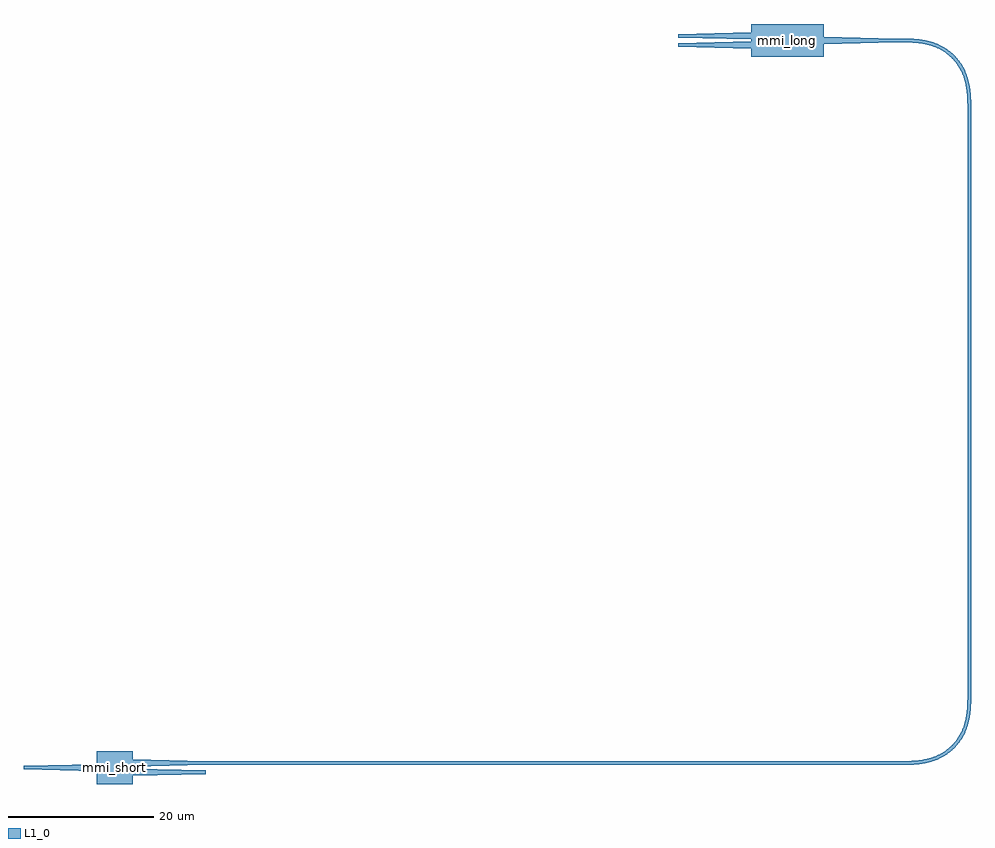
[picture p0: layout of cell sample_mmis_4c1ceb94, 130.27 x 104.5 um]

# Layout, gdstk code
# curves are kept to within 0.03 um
from math import pi, radians
import gdstk
lib = gdstk.Library(unit=1e-6, precision=1e-09)
def R(c, l, rs):  # rectangles x0, y0, x1, y1
    for r in rs: c.add(gdstk.rectangle(r[:2], r[2:], *l))
def P(c, l, *ps):  # polygons
    for p in ps: c.add(gdstk.Polygon(p, *l))
L1_0 = (1, 0)

mmi1x2_length_mmi10_widt = lib.new_cell('mmi1x2_length_mmi10_width_mmi4p5')
R(mmi1x2_length_mmi10_widt, L1_0, [(0,-2.25,10,2.25)])
P(mmi1x2_length_mmi10_widt, L1_0, [(-10,0.25),(0,0.5),(0,-0.5),(-10,-0.25)],
  [(20,0.375),(10,0.125),(10,1.125),(20,0.875)],
  [(20,-0.875),(10,-1.125),(10,-0.125),(20,-0.375)])

mmi1x2_length_mmi5_width = lib.new_cell('mmi1x2_length_mmi5_width_mmi4p5')
R(mmi1x2_length_mmi5_width, L1_0, [(0,-2.25,5,2.25)])
P(mmi1x2_length_mmi5_width, L1_0, [(-10,0.25),(0,0.5),(0,-0.5),(-10,-0.25)],
  [(15,0.375),(5,0.125),(5,1.125),(15,0.875)],
  [(15,-0.875),(5,-1.125),(5,-0.125),(15,-0.375)])

bend_euler_bfe3acbc = lib.new_cell('bend_euler_bfe3acbc')
P(bend_euler_bfe3acbc, L1_0, [(0,-0.25),(1.532,-0.235),(2.795,-0.158),(3.776,-0.023),(4.746,0.203),(5.688,0.543),(6.455,0.934),(7.285,1.5),(7.928,2.072),(8.5,2.715),(9.066,3.545),(9.457,4.312),(9.797,5.254),(10.023,6.224),(10.158,7.205),(10.235,8.468),(10.25,10),(9.75,10),(9.731,8.345),(9.647,7.119),(9.48,6.048),(9.194,5.01),(8.887,4.269),(8.495,3.569),(8.024,2.921),(7.575,2.425),(7.079,1.976),(6.431,1.505),(5.731,1.113),(4.99,0.806),(3.952,0.52),(2.881,0.353),(1.655,0.269),(0,0.25)])

straight_76542a98 = lib.new_cell('straight_76542a98')
R(straight_76542a98, L1_0, [(0,-0.25,95.02,0.25)])

straight_4b6639a1 = lib.new_cell('straight_4b6639a1')
R(straight_4b6639a1, L1_0, [(0,-0.25,79.375,0.25)])

straight_21cf37c5 = lib.new_cell('straight_21cf37c5')
R(straight_21cf37c5, L1_0, [(0,-0.25,0.02,0.25)])

sample_mmis_4c1ceb94 = lib.new_cell('sample_mmis_4c1ceb94')
sample_mmis_4c1ceb94.add(gdstk.Reference(mmi1x2_length_mmi10_widt, (100,100), rotation=pi))
sample_mmis_4c1ceb94.add(gdstk.Reference(mmi1x2_length_mmi5_width, (0,0)))
sample_mmis_4c1ceb94.add(gdstk.Reference(bend_euler_bfe3acbc, (110.02,0.625)))
sample_mmis_4c1ceb94.add(gdstk.Reference(bend_euler_bfe3acbc, (120.02,90), rotation=pi/2))
sample_mmis_4c1ceb94.add(gdstk.Reference(straight_76542a98, (15,0.625)))
sample_mmis_4c1ceb94.add(gdstk.Reference(straight_4b6639a1, (120.02,10.625), rotation=pi/2))
sample_mmis_4c1ceb94.add(gdstk.Reference(straight_21cf37c5, (110.02,100), rotation=pi))
sample_mmis_4c1ceb94.add(gdstk.Label('mmi_long', (95,100), layer=206, texttype=0))
sample_mmis_4c1ceb94.add(gdstk.Label('mmi_short', (2.5,0), layer=206, texttype=0))

lib.write_gds('sample_mmis_4c1ceb94.gds')
